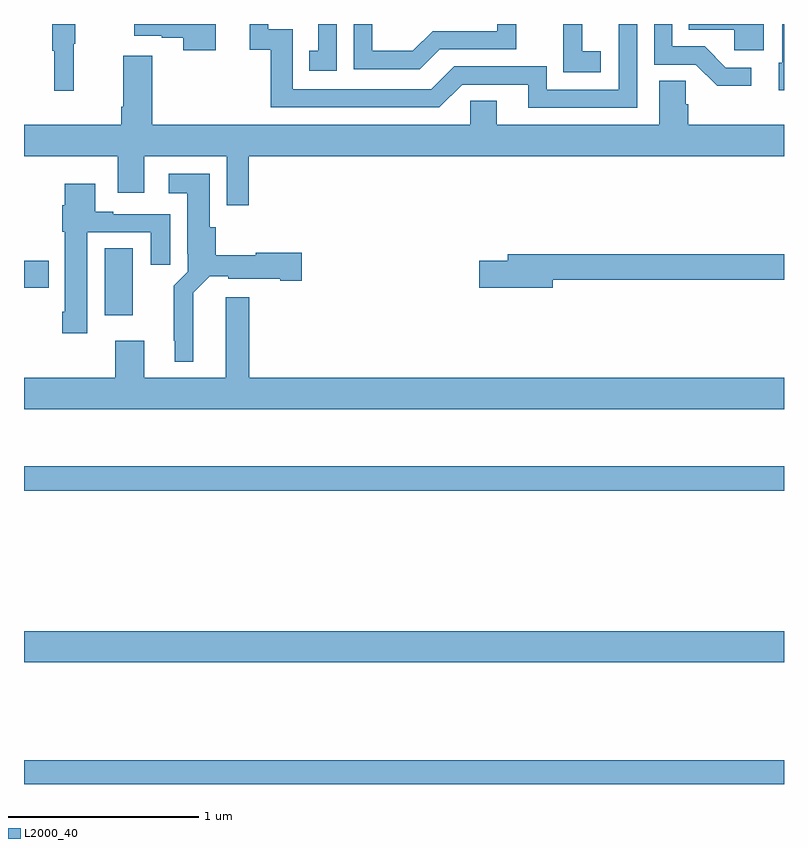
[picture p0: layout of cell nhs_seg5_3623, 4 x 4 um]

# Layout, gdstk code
import gdstk
lib = gdstk.Library(unit=1e-6, precision=1e-09)
def R(c, l, rs):  # rectangles x0, y0, x1, y1
    for r in rs: c.add(gdstk.rectangle(r[:2], r[2:], *l))
def P(c, l, *ps):  # polygons
    for p in ps: c.add(gdstk.Polygon(p, *l))
L2000_40 = (2000, 40)

nhs_seg5_3623 = lib.new_cell('nhs_seg5_3623')
R(nhs_seg5_3623, L2000_40, [(325,842.799,329,842.924), (325,843.44,329,843.604), (325,844.342,329,844.471), (325.424,845.265,325.573,845.618), (325,845.41,325.129,845.552)])
P(nhs_seg5_3623, L2000_40, [(328.036,846.655),(327.938,846.655),(327.938,846.799),(327.839,846.799),(327.839,846.751),(327.838,846.751),(327.838,846.545),(328.036,846.545)],
  [(326.646,846.799),(326.549,846.799),(326.549,846.657),(326.5,846.657),(326.5,846.552),(326.646,846.552)],
  [(329,846.799),(328.992,846.799),(328.992,846.594),(328.973,846.594),(328.973,846.45),(329,846.45)],
  [(328.227,846.799),(328.131,846.799),(328.131,846.453),(327.75,846.453),(327.75,846.576),(327.264,846.576),(327.144,846.456),(326.415,846.456),(326.415,846.771),(326.286,846.771),(326.286,846.799),(326.189,846.799),(326.189,846.663),(326.299,846.663),(326.299,846.36),(327.186,846.36),(327.306,846.48),(327.653,846.48),(327.653,846.357),(328.227,846.357)],
  [(326.008,846.799),(325.581,846.799),(325.581,846.737),(325.724,846.737),(325.724,846.727),(325.838,846.727),(325.838,846.66),(326.008,846.66)],
  [(325.262,846.696),(325.27,846.696),(325.27,846.799),(325.149,846.799),(325.149,846.659),(325.16,846.659),(325.16,846.447),(325.262,846.447)],
  [(328.894,846.799),(328.498,846.799),(328.498,846.77),(328.737,846.77),(328.737,846.662),(328.894,846.662)],
  [(327.187,846.666),(327.591,846.666),(327.591,846.799),(327.492,846.799),(327.492,846.762),(327.15,846.762),(327.046,846.658),(326.832,846.658),(326.832,846.799),(326.736,846.799),(326.736,846.561),(327.082,846.561)],
  [(328.828,846.57),(328.693,846.57),(328.582,846.681),(328.413,846.681),(328.413,846.799),(328.317,846.799),(328.317,846.585),(328.536,846.585),(328.649,846.473),(328.828,846.473)],
  [(326.183,846.104),(329,846.104),(329,846.268),(328.496,846.268),(328.496,846.377),(328.482,846.377),(328.482,846.5),(328.343,846.5),(328.343,846.268),(327.487,846.268),(327.487,846.395),(327.348,846.395),(327.348,846.268),(325.676,846.268),(325.676,846.631),(325.523,846.631),(325.523,846.364),(325.511,846.364),(325.511,846.268),(325,846.268),(325,846.104),(325.493,846.104),(325.493,845.91),(325.633,845.91),(325.633,846.104),(326.067,846.104),(326.067,845.844),(326.183,845.844)],
  [(325.891,845.384),(325.977,845.471),(326.076,845.471),(326.076,845.459),(326.348,845.459),(326.348,845.447),(326.461,845.447),(326.461,845.594),(326.22,845.594),(326.22,845.581),(326.009,845.581),(326.009,845.73),(325.978,845.73),(325.978,846.01),(325.761,846.01),(325.761,845.909),(325.859,845.909),(325.859,845.59),(325.863,845.59),(325.863,845.496),(325.789,845.422),(325.789,845.131),(325.793,845.131),(325.793,845.021),(325.891,845.021)],
  [(325.333,845.703),(325.667,845.703),(325.667,845.532),(325.771,845.532),(325.771,845.799),(325.471,845.799),(325.471,845.812),(325.375,845.812),(325.375,845.959),(325.214,845.959),(325.214,845.846),(325.202,845.846),(325.202,845.706),(325.214,845.706),(325.214,845.284),(325.202,845.284),(325.202,845.172),(325.333,845.172)],
  [(327.784,845.452),(329,845.452),(329,845.588),(327.545,845.588),(327.545,845.552),(327.396,845.552),(327.396,845.41),(327.784,845.41)],
  [(329,844.936),(326.186,844.936),(326.186,845.362),(326.063,845.362),(326.063,844.936),(325.633,844.936),(325.633,845.131),(325.481,845.131),(325.481,844.936),(325,844.936),(325,844.772),(329,844.772)])

lib.write_gds('nhs_seg5_3623.gds')
